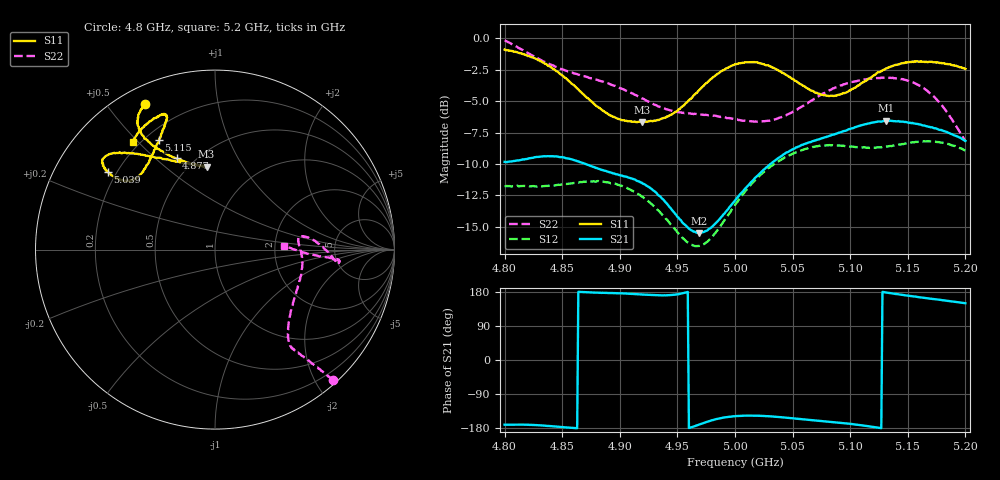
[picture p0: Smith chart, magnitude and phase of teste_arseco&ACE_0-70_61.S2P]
! Network Analyzer HP8722D
! Hewlett-Packard
! Data name: Linha & Wilkinson
! Saver's name: Rodrigo Anjos
! Comments: Teste da utilização de aquisição
! continua pelo VNA HP8722D
! Time and date: 8/5/2025 13:16
!  Frequency  S11  S21  S12  S22
# HZ  S  MA R 50
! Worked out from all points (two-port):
!   401 points, 4.8 GHz to 5.2 GHz, reference 50 ohm
!   highest |S21| = -6.56 dB at 5.131 GHz (marker M1); lowest = -15.5 dB at 4.969 GHz (marker M2)
!   |S21| within 3 dB of the highest: 4.821 GHz to 4.855 GHz (33.88 MHz wide, 0.7 % of centre); 5.037 GHz to end of sweep
!   lowest |S11| = -6.7 dB at 4.919 GHz (marker M3), VSWR 2.73, Z = 30 + j35.2 ohm
!   |S11| at or under -10 dB: nowhere
!   |S22| runs from -8.2 to -0.2 dB; largest |S21 - S12| = 0.83
!   S11 on the Smith chart (normalised r, x): 4.8 GHz: 0.07, +0.63; 4.877 GHz: 0.40, +0.59; 5.039 GHz: 0.17, +0.32; 5.115 GHz: 0.25, +0.58; 5.2 GHz: 0.17, +0.48
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4.8e9  0.9012 115.6  0.3223 -170.8  0.2577 -86.2  0.9801 -47.7
4.819e9  0.8574 120.0  0.3307 -170.8  0.2576 -82.0  0.879 -49.0
4.835e9  0.7926 122.1  0.3394 -173.4  0.2584 -76.8  0.8052 -50.0
4.867e9  0.6061 117.5  0.3203 179.3  0.2675 -67.7  0.7113 -51.7
4.877e9  0.5515 112.8  0.3077 178.0  0.27 -66.7  0.689 -52.0
4.901e9  0.474 100.3  0.2844 175.9  0.2589 -67.3  0.6319 -49.9
4.919e9  0.4636 95.8  0.2664 173.1  0.2348 -69.3  0.5768 -44.7
4.934e9  0.4731 99.6  0.2363 170.6  0.2055 -69.8  0.5345 -37.0
4.957e9  0.5504 115.8  0.1805 178.0  0.1568 -60.0  0.5041 -21.8
4.969e9  0.622 123.8  0.1681 -170.2  0.1492 -46.7  0.4983 -14.7
4.98e9  0.6932 129.7  0.1776 -158.9  0.1617 -34.3  0.4928 -8.9
5e9  0.7873 137.2  0.2263 -148.4  0.2174 -21.6  0.4753 -0.2
5.019e9  0.8021 141.6  0.2825 -147.1  0.2768 -18.8  0.4655 5.9
5.039e9  0.738 144.1  0.3366 -150.6  0.3266 -18.9  0.4838 8.7
5.067e9  0.6177 141.7  0.3893 -158.7  0.3692 -21.2  0.5663 4.1
5.087e9  0.5922 133.1  0.4158 -164.6  0.3749 -24.2  0.6367 -2.0
5.115e9  0.6839 117.1  0.4573 -174.5  0.3669 -27.4  0.6885 -5.9
5.131e9  0.7584 111.5  0.4699 178.3  0.3699 -29.0  0.6963 -5.5
5.134e9  0.7672 110.6  0.4688 176.9  0.3724 -29.4  0.6961 -5.3
5.16e9  0.8081 111.8  0.4538 165.6  0.3877 -35.6  0.6483 -4.2
5.179e9  0.7976 118.5  0.4318 158.2  0.3844 -41.6  0.5443 -3.0
5.2e9  0.755 127.3  0.3906 149.8  0.3573 -47.2  0.3875 3.2
